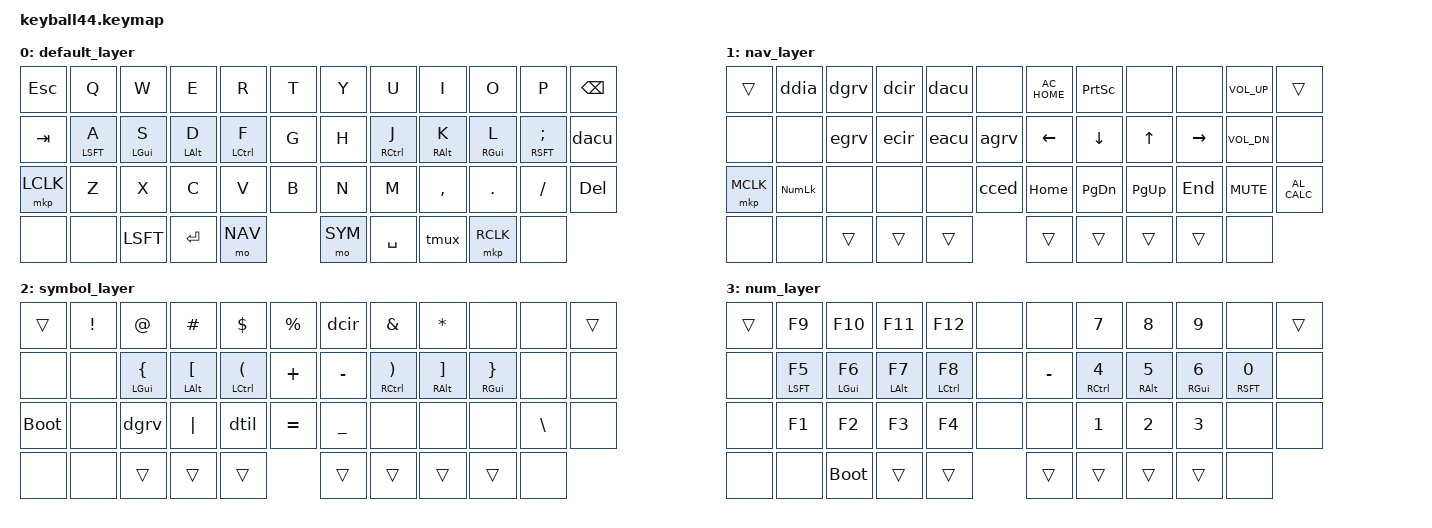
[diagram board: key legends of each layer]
// Keyball 44 ZMK Keymap - Migrated from Piantor Pro QMK
// Preserves home row mods, 4-layer system, and French accented character support

#define DEF 0
#define NAV 1
#define SYM 2
#define NUM 3

#include <behaviors/mouse_keys.dtsi>
#include <behaviors.dtsi>
#include <dt-bindings/zmk/bt.h>
#include <dt-bindings/zmk/keys.h>
#include <dt-bindings/zmk/mouse.h>

// Key position definitions for positional hold-tap
// Keyball 44 layout: 6x3 main area + 4 thumbs per side
#define KEYS_L 0 1 2 3 4 5 12 13 14 15 16 17 24 25 26 27 28 29  // Left hand keys
#define KEYS_R 6 7 8 9 10 11 18 19 20 21 22 23 30 31 32 33 34 35  // Right hand keys
#define THUMBS 36 37 38 39 40 41 42 43  // All thumb keys

// Timing configuration for layer-tap
&lt {
    tapping-term-ms = <240>;
    flavor = "balanced";
    quick-tap-ms = <175>;
};

&caps_word { continue-list = <UNDERSCORE MINUS>; };

/ {
    behaviors {
        // Timeless homerow mods
        // Left-hand home row mods
        hml: homerow_mods_left {
            compatible = "zmk,behavior-hold-tap";
            #binding-cells = <2>;
            flavor = "balanced";
            tapping-term-ms = <280>;
            quick-tap-ms = <175>;
            require-prior-idle-ms = <150>;
            bindings = <&kp>, <&kp>;
            hold-trigger-key-positions = <KEYS_R THUMBS>;
            hold-trigger-on-release;
        };

        // Right-hand home row mods
        hmr: homerow_mods_right {
            compatible = "zmk,behavior-hold-tap";
            #binding-cells = <2>;
            flavor = "balanced";
            tapping-term-ms = <280>;
            quick-tap-ms = <175>;
            require-prior-idle-ms = <150>;
            bindings = <&kp>, <&kp>;
            hold-trigger-key-positions = <KEYS_L THUMBS>;
            hold-trigger-on-release;
        };

        // French accented character macros using US International dead keys

        // È (e-grave)
        egrv: egrv_macro {
            compatible = "zmk,behavior-macro";
            #binding-cells = <0>;
            bindings = <&macro_tap &kp GRAVE>
                     , <&macro_tap &kp E>;
        };

        // É (e-acute)
        eacu: eacu_macro {
            compatible = "zmk,behavior-macro";
            #binding-cells = <0>;
            bindings = <&macro_tap &kp SQT>
                     , <&macro_tap &kp E>;
        };

        // Ê (e-circumflex)
        ecir: ecir_macro {
            compatible = "zmk,behavior-macro";
            #binding-cells = <0>;
            bindings = <&macro_press &kp LSHFT>
                     , <&macro_tap &kp N6>
                     , <&macro_release &kp LSHFT>
                     , <&macro_tap &kp E>;
        };

        // Ë (e-diaeresis)
        edia: edia_macro {
            compatible = "zmk,behavior-macro";
            #binding-cells = <0>;
            bindings = <&macro_press &kp LSHFT>
                     , <&macro_tap &kp SQT>
                     , <&macro_release &kp LSHFT>
                     , <&macro_tap &kp E>;
        };

        // À (a-grave)
        agrv: agrv_macro {
            compatible = "zmk,behavior-macro";
            #binding-cells = <0>;
            bindings = <&macro_tap &kp GRAVE>
                     , <&macro_tap &kp A>;
        };

        // Ù (u-grave)
        ugrv: ugrv_macro {
            compatible = "zmk,behavior-macro";
            #binding-cells = <0>;
            bindings = <&macro_tap &kp GRAVE>
                     , <&macro_tap &kp U>;
        };

        // Ô (o-circumflex)
        ocir: ocir_macro {
            compatible = "zmk,behavior-macro";
            #binding-cells = <0>;
            bindings = <&macro_press &kp LSHFT>
                     , <&macro_tap &kp N6>
                     , <&macro_release &kp LSHFT>
                     , <&macro_tap &kp O>;
        };

        // Û (u-circumflex)
        ucir: ucir_macro {
            compatible = "zmk,behavior-macro";
            #binding-cells = <0>;
            bindings = <&macro_press &kp LSHFT>
                     , <&macro_tap &kp N6>
                     , <&macro_release &kp LSHFT>
                     , <&macro_tap &kp U>;
        };

        // Ç (c-cedilla) - Uses AltGr+comma on US International
        cced: cced_macro {
            compatible = "zmk,behavior-macro";
            #binding-cells = <0>;
            bindings = <&macro_press &kp RALT>
                     , <&macro_tap &kp COMMA>
                     , <&macro_release &kp RALT>;
        };

        // Standalone dead keys (dead key + space)

        // ` (grave accent standalone)
        dgrv: dgrv_macro {
            compatible = "zmk,behavior-macro";
            #binding-cells = <0>;
            bindings = <&macro_tap &kp GRAVE>
                     , <&macro_tap &kp SPACE>;
        };

        // ^ (circumflex standalone)
        dcir: dcir_macro {
            compatible = "zmk,behavior-macro";
            #binding-cells = <0>;
            bindings = <&macro_press &kp LSHFT>
                     , <&macro_tap &kp N6>
                     , <&macro_release &kp LSHFT>
                     , <&macro_tap &kp SPACE>;
        };

        // ~ (tilde standalone)
        dtil: dtil_macro {
            compatible = "zmk,behavior-macro";
            #binding-cells = <0>;
            bindings = <&macro_press &kp LSHFT>
                     , <&macro_tap &kp GRAVE>
                     , <&macro_release &kp LSHFT>
                     , <&macro_tap &kp SPACE>;
        };

        // ´ (acute accent standalone)
        dacu: dacu_macro {
            compatible = "zmk,behavior-macro";
            #binding-cells = <0>;
            bindings = <&macro_tap &kp SQT>
                     , <&macro_tap &kp SPACE>;
        };

        // ¨ (diaeresis standalone)
        ddia: ddia_macro {
            compatible = "zmk,behavior-macro";
            #binding-cells = <0>;
            bindings = <&macro_press &kp LSHFT>
                     , <&macro_tap &kp SQT>
                     , <&macro_release &kp LSHFT>
                     , <&macro_tap &kp SPACE>;
        };

        // TMUX prefix (Ctrl+B)
        tmux: tmux_macro {
            compatible = "zmk,behavior-macro";
            #binding-cells = <0>;
            bindings = <&macro_press &kp LCTRL>
                     , <&macro_tap &kp B>
                     , <&macro_release &kp LCTRL>;
        };
    };

    // Tri-layer: NUM activates when both NAV and SYM are held
    conditional_layers {
        compatible = "zmk,conditional-layers";
        tri_layer {
            if-layers = <NAV SYM>;
            then-layer = <NUM>;
        };
    };

    keymap {
        compatible = "zmk,keymap";

        // DEF Layer - Base QWERTY with timeless homerow mods
        default_layer {
            bindings = <
&kp ESC        &kp Q        &kp W        &kp E        &kp R         &kp T                    &kp Y         &kp U         &kp I         &kp O         &kp P            &kp BSPC
&kp TAB        &hml LSFT A  &hml LGUI S  &hml LALT D  &hml LCTRL F  &kp G                    &kp H         &hmr RCTRL J  &hmr RALT K   &hmr RGUI L   &hmr RSFT SEMI   &dacu
&mkp LCLK      &kp Z        &kp X        &kp C        &kp V         &kp B                    &kp N         &kp M         &kp COMMA     &kp DOT       &kp FSLH         &kp DEL
&none          &none        &kp LSFT     &kp RET      &mo NAV                      &mo SYM   &kp SPACE     &tmux         &mkp RCLK     &none
            >;
        };

        // NAV Layer - French accented characters (left) + Navigation (right)
        nav_layer {
            bindings = <
&trans         &ddia        &dgrv        &dcir        &dacu         &none                    &kp C_AC_HOME &kp PSCRN     &none         &none         &kp C_VOL_UP   &trans
&none          &none        &egrv        &ecir        &eacu         &agrv                    &kp LEFT      &kp DOWN      &kp UP        &kp RIGHT     &kp C_VOL_DN   &none
&mkp MCLK      &kp KP_NUM   &none        &none        &none         &cced                    &kp HOME      &kp PG_DN     &kp PG_UP     &kp END       &kp C_MUTE     &kp C_AL_CALC
&none          &none        &trans       &trans       &trans                       &trans    &trans        &trans        &trans        &none
            >;
        };

        // SYM Layer - Symbols and brackets with timeless homerow mods
        symbol_layer {
            bindings = <
&trans         &kp EXCL     &kp AT       &kp HASH     &kp DLLR      &kp PRCNT                &dcir         &kp AMPS      &kp STAR      &none         &none          &trans
&none          &none        &hml LGUI LBRC &hml LALT LBKT &hml LCTRL LPAR &kp PLUS              &kp MINUS     &hmr RCTRL RPAR &hmr RALT RBKT &hmr RGUI RBRC &none       &none
&bootloader    &none        &dgrv        &kp PIPE     &dtil         &kp EQUAL                &kp UNDER     &none         &none         &none         &kp BSLH       &none
&none          &none        &trans       &trans       &trans                       &trans    &trans        &trans        &trans        &none
            >;
        };

        // NUM Layer - Function keys (left) + Numpad (right) with timeless homerow mods
        num_layer {
            bindings = <
&trans         &kp F9       &kp F10      &kp F11      &kp F12       &none                    &none         &kp N7        &kp N8        &kp N9        &none          &trans
&none          &hml LSFT F5 &hml LGUI F6 &hml LALT F7 &hml LCTRL F8 &none                    &kp MINUS     &hmr RCTRL N4 &hmr RALT N5  &hmr RGUI N6  &hmr RSFT N0   &none
&none          &kp F1       &kp F2       &kp F3       &kp F4        &none                    &none         &kp N1        &kp N2        &kp N3        &none          &none
&none          &none        &bootloader  &trans       &trans                       &trans    &trans        &trans        &trans        &none
            >;
        };
    };
};
